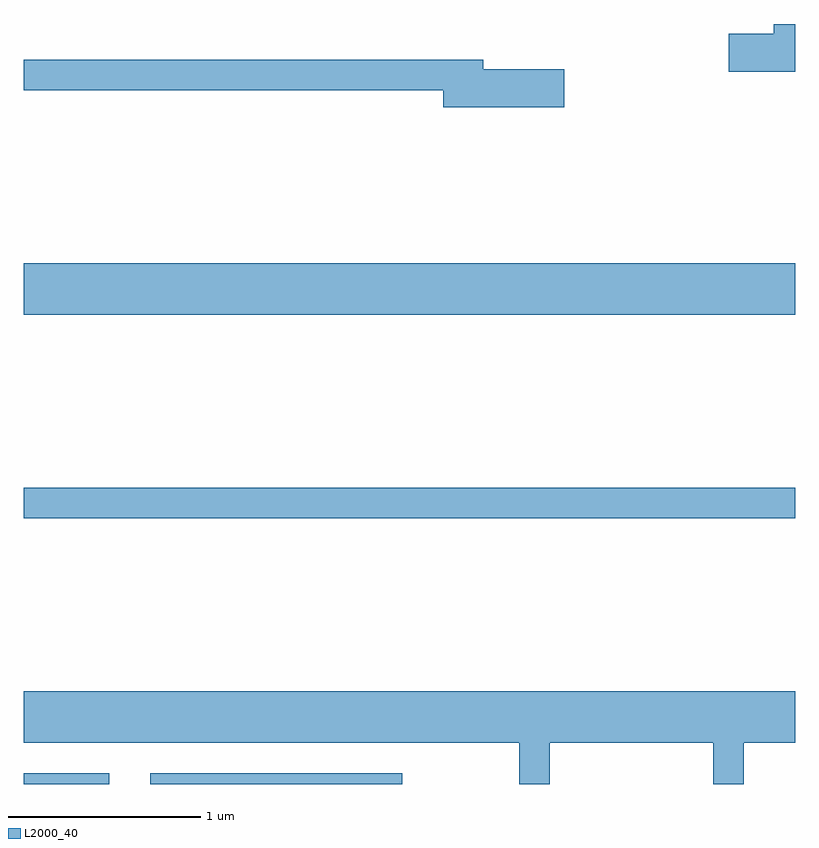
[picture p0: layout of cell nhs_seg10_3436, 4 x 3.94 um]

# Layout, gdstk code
import gdstk
lib = gdstk.Library(unit=1e-6, precision=1e-09)
def R(c, l, rs):  # rectangles x0, y0, x1, y1
    for r in rs: c.add(gdstk.rectangle(r[:2], r[2:], *l))
def P(c, l, *ps):  # polygons
    for p in ps: c.add(gdstk.Polygon(p, *l))
L2000_40 = (2000, 40)

nhs_seg10_3436 = lib.new_cell('nhs_seg10_3436')
R(nhs_seg10_3436, L2000_40, [(285.611,2182.522,286.054,2182.579), (286.266,2182.522,287.573,2182.579), (285.611,2183.901,289.611,2184.059), (285.611,2184.956,289.611,2185.224)])
P(nhs_seg10_3436, L2000_40, [(289.611,2186.464),(289.501,2186.464),(289.501,2186.414),(289.266,2186.414),(289.266,2186.216),(289.611,2186.216)],
  [(288.414,2186.229),(287.994,2186.229),(287.994,2186.279),(285.611,2186.279),(285.611,2186.121),(287.786,2186.121),(287.786,2186.031),(288.414,2186.031)],
  [(288.339,2182.736),(289.186,2182.736),(289.186,2182.522),(289.344,2182.522),(289.344,2182.736),(289.611,2182.736),(289.611,2183.004),(285.611,2183.004),(285.611,2182.736),(288.181,2182.736),(288.181,2182.522),(288.339,2182.522)])

lib.write_gds('nhs_seg10_3436.gds')
